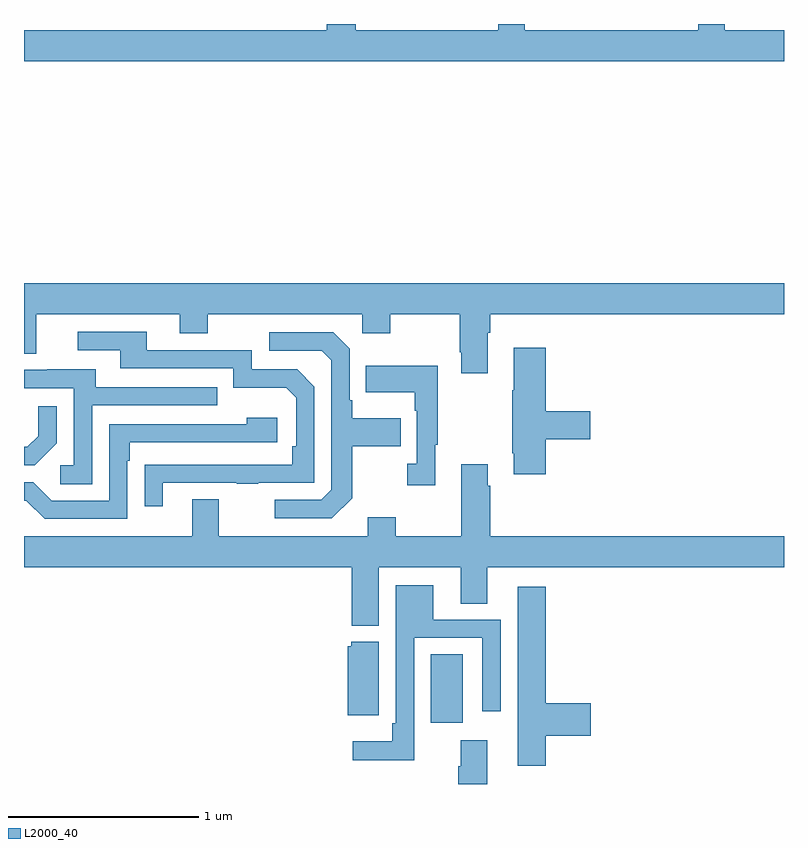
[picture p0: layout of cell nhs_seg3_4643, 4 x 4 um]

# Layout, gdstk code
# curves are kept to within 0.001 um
import gdstk
lib = gdstk.Library(unit=1e-6, precision=1e-09)
def R(c, l, rs):  # rectangles x0, y0, x1, y1
    for r in rs: c.add(gdstk.rectangle(r[:2], r[2:], *l))
def P(c, l, *ps):  # polygons
    for p in ps: c.add(gdstk.Polygon(p, *l))
L2000_40 = (2000, 40)

nhs_seg3_4643 = lib.new_cell('nhs_seg3_4643')
R(nhs_seg3_4643, L2000_40, [(361.142,742.722,361.309,743.084)])
P(nhs_seg3_4643, L2000_40, [(363,746.368),(362.689,746.368),(362.689,746.4),(362.549,746.4),(362.549,746.368),(361.635,746.368),(361.635,746.4),(361.497,746.4),(361.497,746.368),(360.745,746.368),(360.745,746.4),(360.593,746.4),(360.593,746.368),(359,746.368),(359,746.204),(363,746.204)],
  [(361.441,744.776),(361.454,744.776),(361.454,744.872),(363,744.872),(363,745.036),(359,745.036),(359,744.664),(359.065,744.664),(359.065,744.872),(359.819,744.872),(359.819,744.773),(359.967,744.773),(359.967,744.872),(360.78,744.872),(360.78,744.773),(360.927,744.773),(360.927,744.872),(361.294,744.872),(361.294,744.673),(361.301,744.673),(361.301,744.561),(361.441,744.561)],
  [(359.731,743.985),(360.121,743.985),(360.121,743.98),(360.233,743.98),(360.233,743.985),(360.528,743.985),(360.528,744.492),(360.438,744.582),(360.198,744.582),(360.198,744.684),(359.647,744.684),(359.647,744.78),(359.283,744.78),(359.283,744.684),(359.507,744.684),(359.507,744.588),(360.102,744.588),(360.102,744.485),(360.379,744.485),(360.432,744.432),(360.432,744.178),(360.412,744.178),(360.412,744.081),(359.635,744.08),(359.635,743.862),(359.731,743.862)],
  [(360.727,743.905),(360.727,744.178),(360.983,744.178),(360.983,744.325),(360.727,744.325),(360.727,744.421),(360.714,744.421),(360.714,744.69),(360.627,744.777),(360.291,744.777),(360.291,744.681),(360.567,744.681),(360.618,744.63),(360.618,743.949),(360.564,743.895),(360.321,743.895),(360.321,743.799),(360.621,743.799)],
  [(361.745,744.215),(361.981,744.215),(361.981,744.362),(361.745,744.362),(361.745,744.697),(361.577,744.697),(361.577,744.473),(361.57,744.473),(361.57,744.142),(361.577,744.142),(361.577,744.03),(361.745,744.03)],
  [(361.165,744.185),(361.177,744.185),(361.177,744.601),(360.799,744.601),(360.799,744.461),(361.056,744.461),(361.056,744.365),(361.068,744.365),(361.068,744.086),(361.017,744.086),(361.017,743.973),(361.165,743.973)],
  [(359.358,744.393),(360.017,744.393),(360.017,744.489),(359.377,744.489),(359.377,744.583),(359.123,744.583),(359.123,744.579),(359,744.579),(359,744.483),(359.262,744.483),(359.262,744.078),(359.19,744.078),(359.19,743.977),(359.358,743.977)],
  [(359.172,744.194),(359.172,744.388),(359.075,744.388),(359.075,744.231),(359.018,744.174),(359,744.174),(359,744.078),(359.056,744.078)],
  [(359.544,744.101),(359.557,744.101),(359.557,744.198),(360.334,744.198),(360.334,744.328),(360.173,744.328),(360.173,744.294),(359.448,744.294),(359.448,743.892),(359.145,743.892),(359.049,743.988),(359,743.988),(359,743.892),(359.013,743.892),(359.109,743.796),(359.544,743.796)],
  [(360.868,743.54),(361.298,743.54),(361.298,743.35),(361.438,743.35),(361.438,743.54),(363,743.54),(363,743.704),(361.454,743.704),(361.454,743.969),(361.441,743.969),(361.441,744.082),(361.301,744.082),(361.301,743.704),(360.957,743.704),(360.957,743.803),(360.809,743.803),(360.809,743.704),(360.025,743.704),(360.025,743.899),(359.885,743.899),(359.885,743.704),(359,743.704),(359,743.54),(360.725,743.54),(360.725,743.234),(360.868,743.234)],
  [(361.053,743.169),(361.413,743.169),(361.413,742.782),(361.509,742.782),(361.509,743.265),(361.153,743.265),(361.153,743.446),(360.957,743.446),(360.957,742.72),(360.937,742.72),(360.937,742.624),(360.729,742.624),(360.729,742.526),(361.053,742.526)],
  [(361.745,742.655),(361.984,742.655),(361.984,742.826),(361.745,742.826),(361.745,743.437),(361.598,743.437),(361.598,742.497),(361.745,742.497)],
  [(360.868,743.149),(360.723,743.149),(360.723,743.124),(360.704,743.124),(360.704,742.763),(360.868,742.763)],
  [(361.438,742.63),(361.298,742.63),(361.298,742.493),(361.286,742.493),(361.286,742.4),(361.438,742.4)])

lib.write_gds('nhs_seg3_4643.gds')
